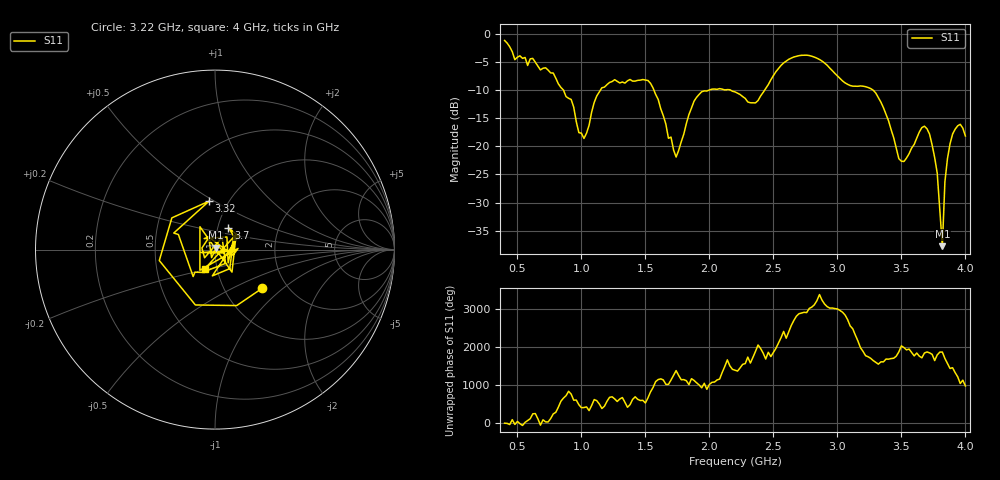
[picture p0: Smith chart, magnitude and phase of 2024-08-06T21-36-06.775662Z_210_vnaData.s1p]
!Created with skrf (http://scikit-rf.org).
# Hz S RI R 50.0
!freq ReS11 ImS11
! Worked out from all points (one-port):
!   181 points, 400 MHz to 4 GHz, reference 50 ohm
!   lowest |S11| = -37.8 dB at 3.82 GHz (marker M1), VSWR 1.03, Z = 50.7 + j1.09 ohm
!   |S11| at or under -10 dB: 860.5 MHz to 1.148 GHz (287.7 MHz wide, 28.6 % of centre); 1.567 GHz to 1.995 GHz (427.7 MHz wide, 24 % of centre); 3.28 GHz to end of sweep (the widest 3 of 4)
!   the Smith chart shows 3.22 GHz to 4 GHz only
!   S11 on the Smith chart (normalised r, x): 3.22 GHz: 1.50, -0.73; 3.32 GHz: 0.81, +0.47; 3.7 GHz: 1.12, +0.28; 4 GHz: 0.87, -0.19
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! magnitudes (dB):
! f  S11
! 400 MHz  -1.1
! 480 MHz  -4.6
! 620 MHz  -4.3
! 860 MHz  -10.0
! 1.02 GHz  -18.6
! 1.16 GHz  -9.6
! 1.3 GHz  -8.7
! 1.54 GHz  -8.8
! 1.74 GHz  -21.9
! 1.76 GHz  -20.7
! 1.88 GHz  -11.9
! 1.94 GHz  -10.3
! 2.2 GHz  -10.3
! 2.36 GHz  -12.3
! 2.66 GHz  -4.1
! 2.84 GHz  -4.3
! 3.1 GHz  -9.2
! 3.22 GHz  -9.4
! 3.32 GHz  -11.3
! 3.48 GHz  -22.2
! 3.56 GHz  -21.3
! 3.7 GHz  -16.9
! 3.78 GHz  -24.8
! 3.82 GHz  -37.8
! 3.84 GHz  -26.3
! 3.88 GHz  -19.5
! 3.96 GHz  -16.1
! 4 GHz  -18.2
